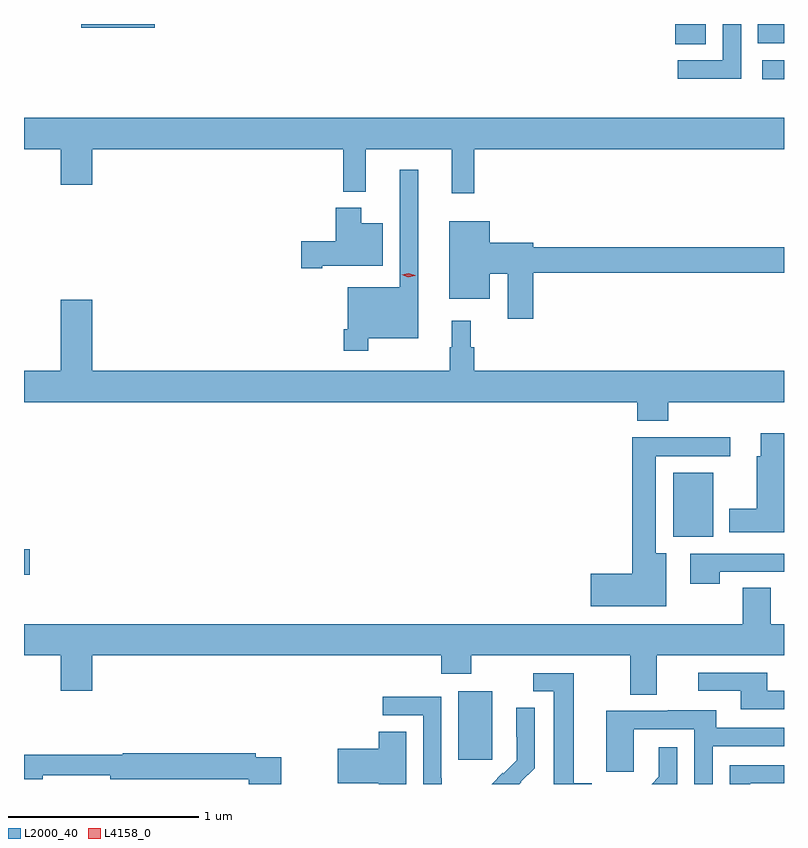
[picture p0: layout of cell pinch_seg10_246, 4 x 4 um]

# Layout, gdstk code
import gdstk
lib = gdstk.Library(unit=1e-6, precision=1e-09)
def R(c, l, rs):  # rectangles x0, y0, x1, y1
    for r in rs: c.add(gdstk.rectangle(r[:2], r[2:], *l))
def P(c, l, *ps):  # polygons
    for p in ps: c.add(gdstk.Polygon(p, *l))
L2000_40 = (2000, 40)
L4158_0 = (4158, 0)

pinch_seg10_246 = lib.new_cell('pinch_seg10_246')
R(pinch_seg10_246, L2000_40, [(574.691,1298.433,574.87,1298.794), (572.406,1299.407,572.437,1299.542), (575.822,1299.608,576.034,1299.943), (576.291,1302.014,576.406,1302.115), (575.834,1302.199,575.995,1302.306), (576.269,1302.204,576.406,1302.306), (572.706,1302.286,573.094,1302.306)])
P(pinch_seg10_246, L2000_40, [(576.18,1302.306),(576.084,1302.306),(576.084,1302.114),(575.847,1302.114),(575.847,1302.017),(576.18,1302.017)],
  [(574.775,1301.648),(576.406,1301.648),(576.406,1301.812),(572.406,1301.812),(572.406,1301.648),(572.6,1301.648),(572.6,1301.46),(572.764,1301.46),(572.764,1301.648),(574.087,1301.648),(574.087,1301.423),(574.205,1301.423),(574.205,1301.648),(574.658,1301.648),(574.658,1301.415),(574.775,1301.415)],
  [(574.219,1300.652),(574.48,1300.652),(574.48,1301.539),(574.383,1301.539),(574.383,1300.921),(574.11,1300.921),(574.11,1300.699),(574.09,1300.699),(574.09,1300.587),(574.219,1300.587)],
  [(573.976,1301.033),(574.294,1301.033),(574.294,1301.257),(574.18,1301.257),(574.18,1301.338),(574.046,1301.338),(574.046,1301.163),(573.864,1301.163),(573.864,1301.021),(573.976,1301.021)],
  [(575.087,1300.996),(576.406,1300.996),(576.406,1301.132),(575.087,1301.132),(575.087,1301.156),(574.858,1301.156),(574.858,1301.269),(574.643,1301.269),(574.643,1300.859),(574.858,1300.859),(574.858,1300.991),(574.952,1300.991),(574.952,1300.755),(575.087,1300.755)],
  [(575.798,1300.316),(576.406,1300.316),(576.406,1300.48),(574.775,1300.48),(574.775,1300.604),(574.757,1300.604),(574.757,1300.744),(574.658,1300.744),(574.658,1300.604),(574.647,1300.604),(574.647,1300.48),(572.764,1300.48),(572.764,1300.855),(572.6,1300.855),(572.6,1300.48),(572.406,1300.48),(572.406,1300.316),(575.633,1300.316),(575.633,1300.217),(575.798,1300.217)],
  [(576.406,1300.153),(576.284,1300.153),(576.284,1300.032),(576.263,1300.032),(576.263,1299.754),(576.119,1299.754),(576.119,1299.632),(576.406,1299.632)],
  [(575.785,1299.52),(575.731,1299.52),(575.731,1300.032),(576.124,1300.032),(576.124,1300.13),(575.606,1300.13),(575.606,1299.413),(575.388,1299.413),(575.388,1299.242),(575.785,1299.242)],
  [(576.069,1299.423),(576.406,1299.423),(576.406,1299.519),(575.913,1299.519),(575.913,1299.36),(576.069,1299.36)],
  [(575.737,1298.984),(576.406,1298.984),(576.406,1299.148),(576.337,1299.148),(576.337,1299.338),(576.19,1299.338),(576.19,1299.148),(572.406,1299.148),(572.406,1298.984),(572.6,1298.984),(572.6,1298.796),(572.764,1298.796),(572.764,1298.984),(574.601,1298.984),(574.601,1298.885),(574.761,1298.885),(574.761,1298.984),(575.597,1298.984),(575.597,1298.776),(575.737,1298.776)],
  [(576.406,1298.796),(576.319,1298.796),(576.319,1298.892),(575.955,1298.892),(575.955,1298.796),(576.179,1298.796),(576.179,1298.7),(576.406,1298.7)],
  [(575.395,1298.309),(575.299,1298.309),(575.299,1298.889),(575.085,1298.889),(575.085,1298.793),(575.195,1298.793),(575.195,1298.306),(575.395,1298.306)],
  [(574.605,1298.336),(574.602,1298.336),(574.602,1298.766),(574.293,1298.766),(574.293,1298.667),(574.506,1298.667),(574.506,1298.306),(574.605,1298.306)],
  [(575.022,1298.316),(575.021,1298.317),(575.094,1298.39),(575.094,1298.708),(574.998,1298.708),(574.998,1298.554),(575,1298.554),(575,1298.432),(574.929,1298.361),(574.926,1298.364),(574.868,1298.306),(575.012,1298.306)],
  [(576.03,1298.505),(576.406,1298.505),(576.406,1298.601),(576.049,1298.601),(576.049,1298.695),(575.795,1298.695),(575.795,1298.691),(575.471,1298.691),(575.471,1298.371),(575.616,1298.371),(575.616,1298.595),(575.934,1298.595),(575.934,1298.306),(576.03,1298.306)],
  [(574.417,1298.582),(574.274,1298.582),(574.274,1298.492),(574.056,1298.492),(574.056,1298.309),(574.274,1298.309),(574.274,1298.306),(574.417,1298.306)],
  [(575.844,1298.5),(575.747,1298.5),(575.747,1298.343),(575.71,1298.306),(575.844,1298.306)],
  [(573.76,1298.448),(573.626,1298.448),(573.626,1298.468),(572.926,1298.468),(572.926,1298.461),(572.406,1298.461),(572.406,1298.332),(572.504,1298.332),(572.504,1298.351),(572.86,1298.351),(572.86,1298.332),(573.59,1298.332),(573.59,1298.306),(573.76,1298.306)],
  [(576.229,1298.31),(576.406,1298.31),(576.406,1298.406),(576.12,1298.406),(576.12,1298.306),(576.229,1298.306)])
P(pinch_seg10_246, L4158_0, [(574.429,1300.974),(574.394,1300.986),(574.394,1300.986),(574.394,1300.986),(574.43,1300.994),(574.465,1300.983),(574.465,1300.983),(574.465,1300.982)])

lib.write_gds('pinch_seg10_246.gds')
